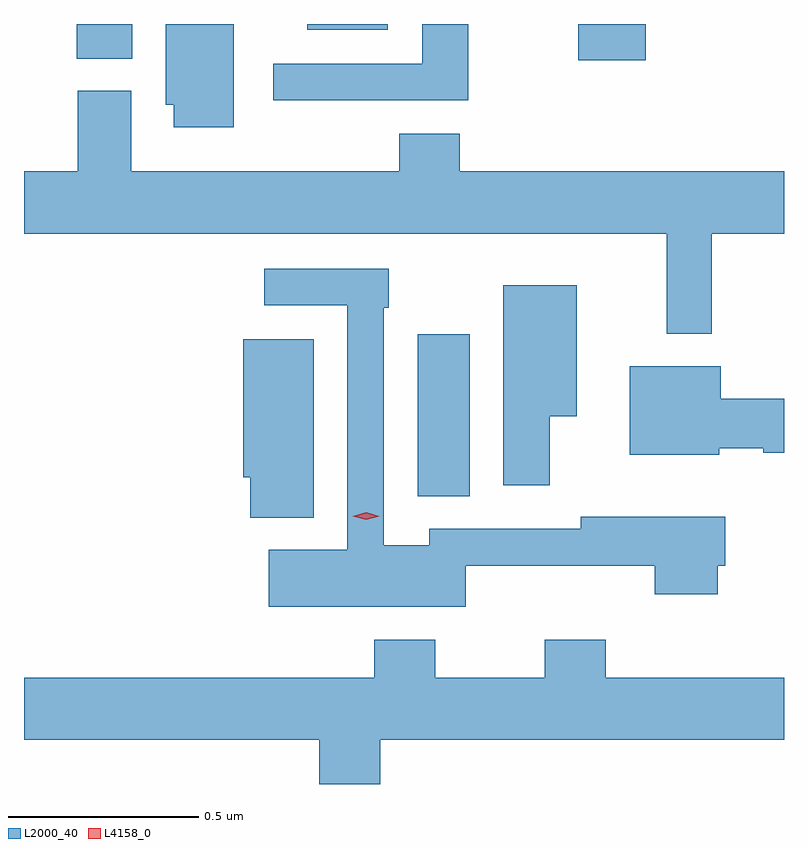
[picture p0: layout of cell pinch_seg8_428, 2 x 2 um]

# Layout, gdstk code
import gdstk
lib = gdstk.Library(unit=1e-6, precision=1e-09)
def R(c, l, rs):  # rectangles x0, y0, x1, y1
    for r in rs: c.add(gdstk.rectangle(r[:2], r[2:], *l))
def P(c, l, *ps):  # polygons
    for p in ps: c.add(gdstk.Polygon(p, *l))
L2000_40 = (2000, 40)
L4158_0 = (4158, 0)

pinch_seg8_428 = lib.new_cell('pinch_seg8_428')
R(pinch_seg8_428, L2000_40, [(286.571,1147.777,286.708,1148.203), (286.993,1148.925,287.171,1149.02), (285.674,1148.929,285.82,1149.02), (286.28,1149.005,286.492,1149.02)])
P(pinch_seg8_428, L2000_40, [(286.087,1149.02),(285.908,1149.02),(285.908,1148.808),(285.929,1148.808),(285.929,1148.748),(286.087,1148.748)],
  [(286.704,1149.02),(286.583,1149.02),(286.583,1148.916),(286.191,1148.916),(286.191,1148.819),(286.704,1148.819)],
  [(287.345,1148.468),(287.535,1148.468),(287.535,1148.632),(286.682,1148.632),(286.682,1148.731),(286.522,1148.731),(286.522,1148.632),(285.817,1148.632),(285.817,1148.844),(285.677,1148.844),(285.677,1148.632),(285.535,1148.632),(285.535,1148.468),(287.227,1148.468),(287.227,1148.205),(287.345,1148.205)],
  [(286.698,1147.595),(287.195,1147.595),(287.195,1147.52),(287.36,1147.52),(287.36,1147.594),(287.38,1147.594),(287.38,1147.723),(287,1147.723),(287,1147.692),(286.602,1147.692),(286.602,1147.648),(286.482,1147.648),(286.482,1148.273),(286.495,1148.273),(286.495,1148.376),(286.167,1148.376),(286.167,1148.28),(286.386,1148.28),(286.386,1147.636),(286.179,1147.636),(286.179,1147.487),(286.698,1147.487)],
  [(286.918,1147.988),(286.99,1147.988),(286.99,1148.332),(286.796,1148.332),(286.796,1147.806),(286.918,1147.806)],
  [(286.297,1148.191),(286.112,1148.191),(286.112,1147.827),(286.13,1147.827),(286.13,1147.721),(286.297,1147.721)],
  [(287.364,1147.904),(287.481,1147.904),(287.481,1147.892),(287.535,1147.892),(287.535,1148.034),(287.368,1148.034),(287.368,1148.119),(287.129,1148.119),(287.129,1147.886),(287.364,1147.886)],
  [(286.472,1147.136),(287.535,1147.136),(287.535,1147.3),(287.066,1147.3),(287.066,1147.399),(286.906,1147.399),(286.906,1147.3),(286.617,1147.3),(286.617,1147.399),(286.457,1147.399),(286.457,1147.3),(285.535,1147.3),(285.535,1147.136),(286.312,1147.136),(286.312,1147.02),(286.472,1147.02)])
P(pinch_seg8_428, L4158_0, [(286.435,1147.715),(286.4,1147.725),(286.4,1147.725),(286.4,1147.725),(286.435,1147.735),(286.47,1147.725),(286.47,1147.725),(286.47,1147.725)])

lib.write_gds('pinch_seg8_428.gds')
